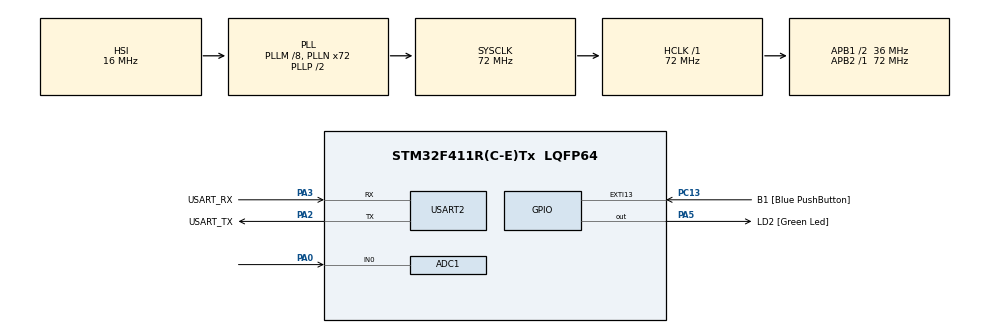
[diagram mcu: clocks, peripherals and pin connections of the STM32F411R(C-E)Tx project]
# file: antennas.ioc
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ADC1.Channel-3\#ChannelRegularConversion=ADC_CHANNEL_0
ADC1.ClockPrescaler=ADC_CLOCK_SYNC_PCLK_DIV2
ADC1.ContinuousConvMode=ENABLE
ADC1.DMAContinuousRequests=DISABLE
ADC1.InjNumberOfConversion=0
ADC1.NbrOfConversion=1
ADC1.NbrOfConversionFlag=1
ADC1.Rank-3\#ChannelRegularConversion=1
ADC1.Resolution=ADC_RESOLUTION_12B
ADC1.SamplingTime-3\#ChannelRegularConversion=ADC_SAMPLETIME_3CYCLES
ADC1.ScanConvMode=DISABLE
ADC1.master=1
ARM.CMSIS.5.2.0.CMSISJjCORE=true
ARM.CMSIS.5.2.0.CMSISJjDSP=true
Dma.ADC1.0.Direction=DMA_PERIPH_TO_MEMORY
Dma.ADC1.0.FIFOMode=DMA_FIFOMODE_DISABLE
Dma.ADC1.0.Instance=DMA2_Stream0
Dma.ADC1.0.MemDataAlignment=DMA_MDATAALIGN_HALFWORD
Dma.ADC1.0.MemInc=DMA_MINC_ENABLE
Dma.ADC1.0.Mode=DMA_NORMAL
Dma.ADC1.0.PeriphDataAlignment=DMA_PDATAALIGN_HALFWORD
Dma.ADC1.0.PeriphInc=DMA_PINC_DISABLE
Dma.ADC1.0.Priority=DMA_PRIORITY_LOW
Dma.Request0=ADC1
Mcu.Family=STM32F4
Mcu.Name=STM32F411R(C-E)Tx
Mcu.Package=LQFP64
NVIC.DMA2_Stream0_IRQn=true\:0\:0\:false\:false\:true\:false\:true\:true
NVIC.PriorityGroup=NVIC_PRIORITYGROUP_0
PA0-WKUP.Signal=ADCx_IN0
PA13.GPIO_Label=TMS
PA13.Mode=Serial_Wire
PA13.Signal=SYS_JTMS-SWDIO
PA14.GPIO_Label=TCK
PA14.Mode=Serial_Wire
PA14.Signal=SYS_JTCK-SWCLK
PA2.GPIO_Label=USART_TX
PA2.Mode=Asynchronous
PA2.Signal=USART2_TX
PA3.GPIO_Label=USART_RX
PA3.Mode=Asynchronous
PA3.Signal=USART2_RX
PA5.GPIO_Label=LD2 [Green Led]
PA5.Signal=GPIO_Output
PB3.GPIO_Label=SWO
PB3.Signal=SYS_JTDO-SWO
PC13-ANTI_TAMP.GPIO_Label=B1 [Blue PushButton]
PC13-ANTI_TAMP.GPIO_ModeDefaultEXTI=GPIO_MODE_IT_FALLING
PC13-ANTI_TAMP.Signal=GPXTI13
PC14-OSC32_IN.Mode=LSE-External-Oscillator
PC14-OSC32_IN.Signal=RCC_OSC32_IN
PC15-OSC32_OUT.Mode=LSE-External-Oscillator
PC15-OSC32_OUT.Signal=RCC_OSC32_OUT
PH0\ -\ OSC_IN.Mode=HSE-External-Clock-Source
PH0\ -\ OSC_IN.Signal=RCC_OSC_IN
PH1\ -\ OSC_OUT.Mode=HSE-External-Clock-Source
PH1\ -\ OSC_OUT.Signal=RCC_OSC_OUT
ProjectManager.HeapSize=0x200
ProjectManager.StackSize=0x400
ProjectManager.TargetToolchain=STM32CubeIDE
RCC.48MHZClocksFreq_Value=36000000
RCC.AHBFreq_Value=72000000
RCC.APB1CLKDivider=RCC_HCLK_DIV2
RCC.APB1Freq_Value=36000000
RCC.APB1TimFreq_Value=72000000
RCC.APB2Freq_Value=72000000
RCC.APB2TimFreq_Value=72000000
RCC.CortexFreq_Value=72000000
RCC.FLatency-AdvancedSettings=FLASH_LATENCY_2
RCC.HCLKFreq_Value=72000000
RCC.HSE_VALUE=8000000
RCC.HSI_VALUE=16000000
RCC.PLLM=8
RCC.PLLN=72
RCC.SYSCLKFreq_VALUE=72000000
RCC.SYSCLKSource=RCC_SYSCLKSOURCE_PLLCLK
RCC.VCOOutputFreq_Value=144000000
SH.ADCx_IN0.0=ADC1_IN0,IN0
USART2.VirtualMode=VM_ASYNC
VP_ARM.CMSIS_VS_CMSISJjCORE_5.0.2_5.2.0.Mode=CMSISJjCORE
VP_ARM.CMSIS_VS_CMSISJjDSP_1.5.2_5.2.0.Mode=CMSISJjDSP
board=NUCLEO-F411RE

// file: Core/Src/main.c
/* USER CODE BEGIN Header */
/**
  ******************************************************************************
  * @file           : main.c
  * @brief          : Main program body
  ******************************************************************************
  * @attention
  *
  * Copyright (c) 2022 STMicroelectronics.
  * All rights reserved.
  *
  * This software is licensed under terms that can be found in the LICENSE file
  * in the root directory of this software component.
  * If no LICENSE file comes with this software, it is provided AS-IS.
  *
  ******************************************************************************

*/

/* USER CODE END Header */
#include "main.h"

/* USER CODE BEGIN Includes */
#define ARM_MATH_CM4
#include "arm_math.h"
#include "arm_const_structs.h"
/* USER CODE END Includes */

 ADC_HandleTypeDef hadc1;
DMA_HandleTypeDef hdma_adc1;

UART_HandleTypeDef huart2;

void SystemClock_Config(void);
static void MX_GPIO_Init(void);
static void MX_USART2_UART_Init(void);
static void MX_DMA_Init(void);
static void MX_ADC1_Init(void);

/* USER CODE BEGIN 0 */

/*
 * C++ version 0.4 char* style "itoa":
 * Written by Lukás Chmela
 * Released under GPLv3.
*/

char* itoa(int value, char* result, int base) {
	// check that the base if valid
	if (base < 2 || base > 36) { *result = '\0'; return result; }

	char* ptr = result, *ptr1 = result, tmp_char;
	int tmp_value;

	do {
		tmp_value = value;
		value /= base;
		*ptr++ = "zyxwvutsrqponmlkjihgfedcba9876543210123456789abcdefghijklmnopqrstuvwxyz" [35 + (tmp_value - value * base)];
	} while ( value );

	// Apply negative sign
	if (tmp_value < 0) *ptr++ = '-';
	*ptr-- = '\0';
	while(ptr1 < ptr) {
		tmp_char = *ptr;
		*ptr--= *ptr1;
		*ptr1++ = tmp_char;
	}
	return result;
}

/* USER CODE END 0 */

int main(void)
{

  /* MCU Configuration--------------------------------------------------------*/

  /* Reset of all peripherals, Initializes the Flash interface and the Systick. */
  HAL_Init();

  /* Configure the system clock */
  SystemClock_Config();

  /* Initialize all configured peripherals */
  MX_GPIO_Init();
  MX_USART2_UART_Init();
  MX_DMA_Init();
  MX_ADC1_Init();

  /* Infinite loop */
  /* USER CODE BEGIN WHILE */

  const int windowsize = 512;
  const int tolerance = 15000;
  const int samplesize = 12;
  const int samplerate = 2400000;

  const int targetfrequency0 = 800000;
  const int targetfrequency1 = 500000;

  const int amplification = 8;

  const int buffersize = windowsize << 1;
  const int nyquistsize = windowsize >> 1;

  int16_t buffer [buffersize] __attribute__ ((aligned (32)));
  int16_t fft [windowsize * 2];
  uint16_t mag [windowsize / 2];
  uint16_t ang [windowsize / 2];

  extern uint8_t dma_complete;
  dma_complete = 0;

  /*void TransferComplete(){
	  dma_available = 1;
	  HAL_GPIO_WritePin(GPIOA, LD2_Pin, GPIO_PIN_SET);
    }*/

  /*void HAL_ADC_ConvHalfCpltCallback(ADC_HandleTypeDef* hadc){
	  dma_available = 1;
	  HAL_GPIO_WritePin(GPIOA, LD2_Pin, GPIO_PIN_SET);
  }*/
  //HAL_DMA_RegisterCallback(&hdma_adc1, HAL_DMA_XFER_HALFCPLT_CB_ID, TransferComplete);

  HAL_ADC_Start_DMA(&hadc1, (uint32_t*) buffer, buffersize);

  uint8_t dma_half_select = 0;
  while (1)
  {
	  int start;
	  int end;
	  if (dma_complete){
		  if (!dma_half_select){
			  //HAL_GPIO_WritePin(GPIOA, LD2_Pin, GPIO_PIN_RESET);
			  start = 0;
			  end = buffersize / 2;
		  }
		  else{

			  //HAL_GPIO_WritePin(GPIOA, LD2_Pin, GPIO_PIN_SET);
			  start = buffersize / 2;
			  end = buffersize;
		  }

		  dma_half_select = !dma_half_select;

		  int16_t dc_offset;
		  arm_mean_q15(buffer + start, windowsize, &dc_offset);

		  for (int i = start; i < end; i++){
			  int32_t val = ((buffer[i] - dc_offset) << (16 - samplesize)) * amplification;
			  if (val < -(1 << 15)){
				  val = -(1 << 15) + 1;
			  }
			  if (val >= (1 << 15)){
				  val = (1 << 15) - 1;
			  }
			  buffer[i] = val;
		  }

		  uint32_t doInverse = 0;
		  uint32_t doBitReverse = 1;
		  arm_rfft_instance_q15 rfft;
		  arm_rfft_init_q15(&rfft, windowsize, doInverse, doBitReverse);
		  arm_rfft_q15(&rfft, buffer + start, fft);
		  arm_cmplx_mag_q15(fft, mag, windowsize / 2);

		  /*int16_t *dirs = {1, 0, -1, 0, 0, 1, 0, -1};

		  for (int i = 0; i < windowsize / 2; i++){
			  int64_t res;
			  int maxidx = 0;
			  int max = -(1 << 64) + 1;
			  for (int i2 = 0; i2 < 4; i2++){
				  arm_dot_prod_q15(fft + i * 2, dirs + i2 * 2, 2, &res);
				  if (res > max){
					  max = res;
					  maxidx = i2;
				  }
			  }

			  ang[i] = maxidx;
		  }

		  uint8_t rx[1];
		  HAL_UART_Receive (&huart2, rx, 1, HAL_MAX_DELAY);

		  HAL_UART_Transmit(&huart2, (uint8_t*) "\r\n", 3, HAL_MAX_DELAY);
		  for (int i = 100; i < 115; i++){
			  char string[7];
			  itoa((int) ang[i], (char*) string, 10);

			  int pos;
			  for (pos = 0; pos < 6 && string[pos] != '\0'; pos++);
			  string[pos] = '\r';
			  string[pos + 1] = '\n';

			  HAL_UART_Transmit(&huart2, (uint8_t*) string, pos + 2, HAL_MAX_DELAY);
		  }*/

		  const int targetindex0 = (targetfrequency0 * windowsize + 0.5) / samplerate;
		  const int targetindex1 = (targetfrequency1 * windowsize + 0.5) / samplerate;
		  const int side = tolerance * windowsize / samplerate;
		  uint8_t recep = 0;
		  uint8_t data = 0;

		  uint16_t threshold = 0;
		  //arm_mean_q15(mag, windowsize / 2, &threshold);

		  for (int i = targetindex0 - side; i <= targetindex0 + side; i++){
			  if (i < nyquistsize){
				  if (mag[i] > threshold){
					  data = 0;
					  recep = 1;
					  break;
				  }
			  }
		  }
		  for (int i = targetindex1 - side; i <= targetindex1 + side; i++){
			  if (i < nyquistsize){
				  if (mag[i] > threshold){
					  recep = 1;
					  data = 1;
					  break;
				  }
			  }
		  }

		  if (recep){
			  HAL_GPIO_WritePin(GPIOA, LD2_Pin, GPIO_PIN_SET);
			  if(data){
				  HAL_UART_Transmit(&huart2, (uint8_t*) "1", 1, HAL_MAX_DELAY);
			  }
			  else{
				  HAL_UART_Transmit(&huart2, (uint8_t*) "0", 1, HAL_MAX_DELAY);
			  }
		  }
		  else{
			  HAL_GPIO_WritePin(GPIOA, LD2_Pin, GPIO_PIN_RESET);
			  HAL_UART_Transmit(&huart2, (uint8_t*) "2", 1, HAL_MAX_DELAY);
		  }

		  if (!dma_half_select){
			  dma_complete = 0;
			  HAL_ADC_Start_DMA(&hadc1, (uint32_t*) buffer, buffersize);
		  }
	  }

    /* USER CODE END WHILE */

  }
}

void SystemClock_Config(void)
{
  RCC_OscInitTypeDef RCC_OscInitStruct = {0};
  RCC_ClkInitTypeDef RCC_ClkInitStruct = {0};

  /** Configure the main internal regulator output voltage
  */
  __HAL_RCC_PWR_CLK_ENABLE();
  __HAL_PWR_VOLTAGESCALING_CONFIG(PWR_REGULATOR_VOLTAGE_SCALE1);

  /** Initializes the RCC Oscillators according to the specified parameters
  * in the RCC_OscInitTypeDef structure.
  */
  RCC_OscInitStruct.OscillatorType = RCC_OSCILLATORTYPE_HSI;
  RCC_OscInitStruct.HSIState = RCC_HSI_ON;
  RCC_OscInitStruct.HSICalibrationValue = RCC_HSICALIBRATION_DEFAULT;
  RCC_OscInitStruct.PLL.PLLState = RCC_PLL_ON;
  RCC_OscInitStruct.PLL.PLLSource = RCC_PLLSOURCE_HSI;
  RCC_OscInitStruct.PLL.PLLM = 8;
  RCC_OscInitStruct.PLL.PLLN = 72;
  RCC_OscInitStruct.PLL.PLLP = RCC_PLLP_DIV2;
  RCC_OscInitStruct.PLL.PLLQ = 4;
  if (HAL_RCC_OscConfig(&RCC_OscInitStruct) != HAL_OK)
  {
    Error_Handler();
  }

  /** Initializes the CPU, AHB and APB buses clocks
  */
  RCC_ClkInitStruct.ClockType = RCC_CLOCKTYPE_HCLK|RCC_CLOCKTYPE_SYSCLK
                              |RCC_CLOCKTYPE_PCLK1|RCC_CLOCKTYPE_PCLK2;
  RCC_ClkInitStruct.SYSCLKSource = RCC_SYSCLKSOURCE_PLLCLK;
  RCC_ClkInitStruct.AHBCLKDivider = RCC_SYSCLK_DIV1;
  RCC_ClkInitStruct.APB1CLKDivider = RCC_HCLK_DIV2;
  RCC_ClkInitStruct.APB2CLKDivider = RCC_HCLK_DIV1;

  if (HAL_RCC_ClockConfig(&RCC_ClkInitStruct, FLASH_LATENCY_2) != HAL_OK)
  {
    Error_Handler();
  }
}

static void MX_ADC1_Init(void)
{

  ADC_ChannelConfTypeDef sConfig = {0};

  /** Configure the global features of the ADC (Clock, Resolution, Data Alignment and number of conversion)
  */
  hadc1.Instance = ADC1;
  hadc1.Init.ClockPrescaler = ADC_CLOCK_SYNC_PCLK_DIV2;
  hadc1.Init.Resolution = ADC_RESOLUTION_12B;
  hadc1.Init.ScanConvMode = DISABLE;
  hadc1.Init.ContinuousConvMode = ENABLE;
  hadc1.Init.DiscontinuousConvMode = DISABLE;
  hadc1.Init.ExternalTrigConvEdge = ADC_EXTERNALTRIGCONVEDGE_NONE;
  hadc1.Init.ExternalTrigConv = ADC_SOFTWARE_START;
  hadc1.Init.DataAlign = ADC_DATAALIGN_RIGHT;
  hadc1.Init.NbrOfConversion = 1;
  hadc1.Init.DMAContinuousRequests = DISABLE;
  hadc1.Init.EOCSelection = ADC_EOC_SINGLE_CONV;
  if (HAL_ADC_Init(&hadc1) != HAL_OK)
  {
    Error_Handler();
  }

  /** Configure for the selected ADC regular channel its corresponding rank in the sequencer and its sample time.
  */
  sConfig.Channel = ADC_CHANNEL_0;
  sConfig.Rank = 1;
  sConfig.SamplingTime = ADC_SAMPLETIME_3CYCLES;
  if (HAL_ADC_ConfigChannel(&hadc1, &sConfig) != HAL_OK)
  {
    Error_Handler();
  }

}

static void MX_USART2_UART_Init(void)
{

  huart2.Instance = USART2;
  huart2.Init.BaudRate = 115200;
  huart2.Init.WordLength = UART_WORDLENGTH_8B;
  huart2.Init.StopBits = UART_STOPBITS_1;
  huart2.Init.Parity = UART_PARITY_NONE;
  huart2.Init.Mode = UART_MODE_TX_RX;
  huart2.Init.HwFlowCtl = UART_HWCONTROL_NONE;
  huart2.Init.OverSampling = UART_OVERSAMPLING_16;
  if (HAL_UART_Init(&huart2) != HAL_OK)
  {
    Error_Handler();
  }

}

static void MX_DMA_Init(void)
{

  /* DMA controller clock enable */
  __HAL_RCC_DMA2_CLK_ENABLE();

  /* DMA interrupt init */
  /* DMA2_Stream0_IRQn interrupt configuration */
  HAL_NVIC_SetPriority(DMA2_Stream0_IRQn, 0, 0);
  HAL_NVIC_EnableIRQ(DMA2_Stream0_IRQn);

}

static void MX_GPIO_Init(void)
{
  GPIO_InitTypeDef GPIO_InitStruct = {0};

  /* GPIO Ports Clock Enable */
  __HAL_RCC_GPIOC_CLK_ENABLE();
  __HAL_RCC_GPIOH_CLK_ENABLE();
  __HAL_RCC_GPIOA_CLK_ENABLE();
  __HAL_RCC_GPIOB_CLK_ENABLE();

  /*Configure GPIO pin Output Level */
  HAL_GPIO_WritePin(LD2_GPIO_Port, LD2_Pin, GPIO_PIN_RESET);

  /*Configure GPIO pin : B1_Pin */
  GPIO_InitStruct.Pin = B1_Pin;
  GPIO_InitStruct.Mode = GPIO_MODE_IT_FALLING;
  GPIO_InitStruct.Pull = GPIO_NOPULL;
  HAL_GPIO_Init(B1_GPIO_Port, &GPIO_InitStruct);

  /*Configure GPIO pin : LD2_Pin */
  GPIO_InitStruct.Pin = LD2_Pin;
  GPIO_InitStruct.Mode = GPIO_MODE_OUTPUT_PP;
  GPIO_InitStruct.Pull = GPIO_NOPULL;
  GPIO_InitStruct.Speed = GPIO_SPEED_FREQ_LOW;
  HAL_GPIO_Init(LD2_GPIO_Port, &GPIO_InitStruct);

}

void Error_Handler(void)
{
  __disable_irq();
  while (1)
  {
  }
}
